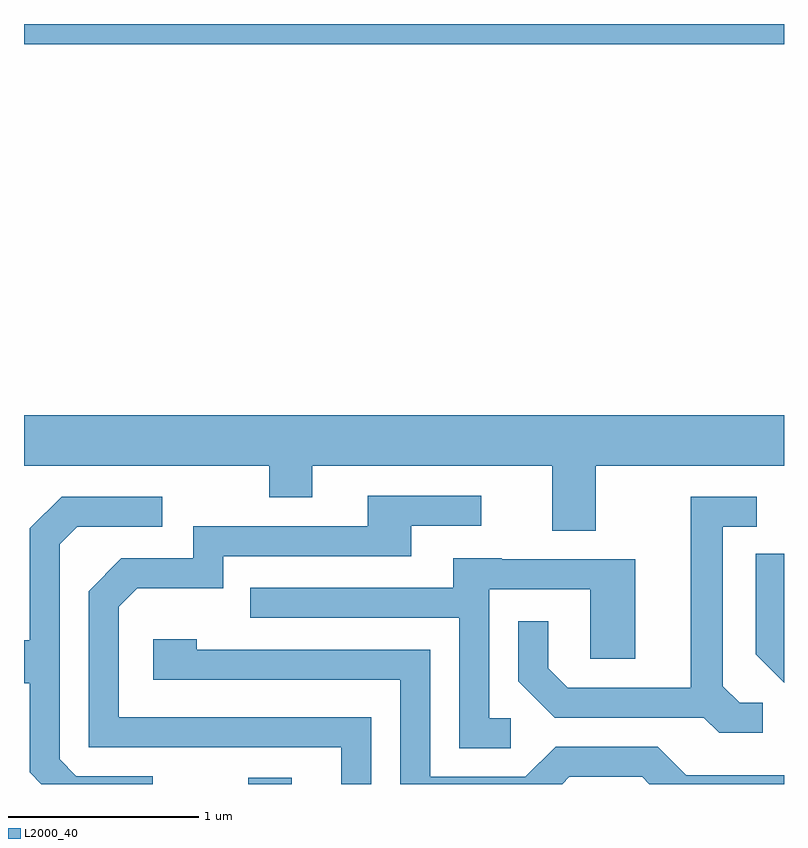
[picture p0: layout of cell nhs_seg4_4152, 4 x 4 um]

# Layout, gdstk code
import gdstk
lib = gdstk.Library(unit=1e-6, precision=1e-09)
def R(c, l, rs):  # rectangles x0, y0, x1, y1
    for r in rs: c.add(gdstk.rectangle(r[:2], r[2:], *l))
def P(c, l, *ps):  # polygons
    for p in ps: c.add(gdstk.Polygon(p, *l))
L2000_40 = (2000, 40)

nhs_seg4_4152 = lib.new_cell('nhs_seg4_4152')
R(nhs_seg4_4152, L2000_40, [(308.791,1261.982,309.019,1262.014), (307.611,1265.876,311.611,1265.982)])
P(nhs_seg4_4152, L2000_40, [(310.619,1263.656),(311.611,1263.656),(311.611,1263.924),(307.611,1263.924),(307.611,1263.656),(308.901,1263.656),(308.901,1263.491),(309.129,1263.491),(309.129,1263.656),(310.391,1263.656),(310.391,1263.316),(310.619,1263.316)],
  [(309.439,1262.334),(308.109,1262.334),(308.109,1262.914),(308.207,1263.011),(308.659,1263.011),(308.659,1263.181),(309.649,1263.181),(309.649,1263.341),(310.018,1263.341),(310.018,1263.499),(309.421,1263.499),(309.421,1263.339),(308.501,1263.339),(308.501,1263.169),(308.124,1263.169),(307.951,1262.997),(307.951,1262.176),(309.281,1262.176),(309.281,1261.982),(309.439,1261.982)],
  [(311.498,1262.409),(311.377,1262.409),(311.289,1262.497),(311.289,1263.336),(311.468,1263.336),(311.468,1263.494),(311.121,1263.494),(311.121,1262.489),(310.472,1262.489),(310.369,1262.592),(310.369,1262.838),(310.211,1262.838),(310.211,1262.524),(310.404,1262.331),(311.189,1262.331),(311.269,1262.251),(311.498,1262.251)],
  [(308.288,1262.024),(307.887,1262.024),(307.799,1262.112),(307.799,1263.244),(307.892,1263.336),(308.338,1263.336),(308.338,1263.494),(307.809,1263.494),(307.641,1263.327),(307.641,1262.739),(307.611,1262.739),(307.611,1262.511),(307.641,1262.511),(307.641,1262.044),(307.703,1261.982),(308.288,1261.982)],
  [(311.611,1263.193),(311.461,1263.193),(311.461,1262.664),(311.611,1262.514)],
  [(310.173,1262.329),(310.059,1262.329),(310.059,1263.006),(310.591,1263.006),(310.591,1262.641),(310.829,1262.641),(310.829,1263.164),(310.125,1263.164),(310.125,1263.169),(309.871,1263.169),(309.871,1263.014),(308.803,1263.014),(308.803,1262.856),(309.901,1262.856),(309.901,1262.171),(310.173,1262.171)],
  [(310.482,1262.021),(310.864,1262.021),(310.903,1261.982),(311.611,1261.982),(311.611,1262.029),(311.097,1262.029),(310.947,1262.179),(310.409,1262.179),(310.249,1262.019),(309.749,1262.019),(309.749,1262.689),(308.519,1262.689),(308.519,1262.744),(308.291,1262.744),(308.291,1262.531),(309.591,1262.531),(309.591,1261.982),(310.443,1261.982)])

lib.write_gds('nhs_seg4_4152.gds')
